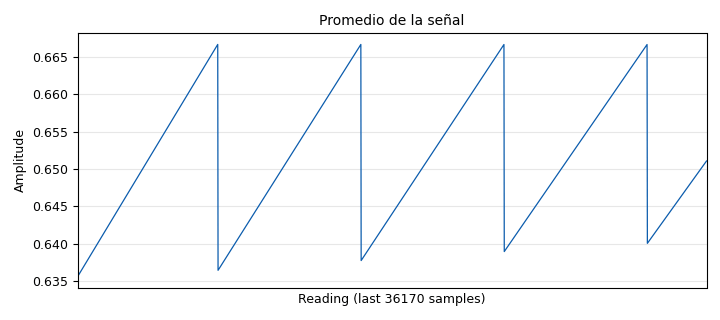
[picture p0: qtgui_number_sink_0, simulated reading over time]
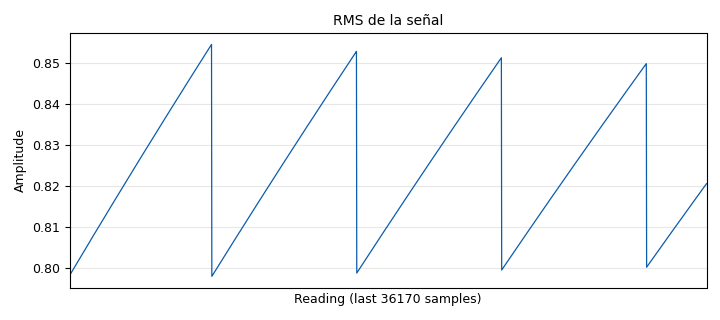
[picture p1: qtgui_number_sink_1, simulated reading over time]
options:
  parameters:
    author: CARLOS_CARREÑO_JUAN_PINTO
    generate_options: qt_gui
    id: Lab_Comu_II_Pro
    output_language: python
    title: Lab_Comu_II_Pro
  states: {}

blocks:
- name: samp_rate
  id: variable
  parameters:
    value: '32000'
  states: {}
- name: blocks_vector_source_x_0
  id: blocks_vector_source_x
  parameters:
    repeat: 'True'
    type: float
    vector: (1, 2, -1)
  states: {}
- name: epy_block_0
  id: epy_block
  parameters:
    _source_code: |-
      """
      Embedded Python Blocks:

      Each time this file is saved, GRC will instantiate the first class it finds
      to get ports and parameters of your block. The arguments to __init__  will
      be the parameters. All of them are required to have default values!
      """
      import numpy as np
      from gnuradio import gr

      class blk(gr.sync_block):
          def __init__( self ): # only default arguments here
              gr.sync_block.__init__(
              self ,
              name = 'Promedios_de_tiempos', # will show up in GRC
              in_sig =[ np.float32 ],
              out_sig =[ np.float32 ,np.float32 ,np.float32 ,np.float32 ,np.float32 ]
              )
              self.acum_anterior = 0
              self.Ntotales = 0
              self.acum_anterior1 = 0
              self.acum_anterior2 = 0

          def work(self , input_items , output_items ):
              x = input_items[0] # Senial de entrada .
              y0 = output_items[0] # Promedio de la senial
              y1 = output_items[1] # Media de la senial
              y2 = output_items[2] # RMS de la senial
              y3 = output_items[3] # Potencia promedio de la senial
              y4 = output_items[4] # Desviacion estandar de la senial

              # Calculo del promedio
              N = len(x)
              self.Ntotales = self.Ntotales + N
              acumulado = self.acum_anterior + np.cumsum(x)
              self.acum_anterior = acumulado[N -1]
              y0[:]= acumulado/self.Ntotales

              # Calculo de la media cuadratica
              x2=np.multiply(x,x)
              acumulado1 = self.acum_anterior1 + np.cumsum(x2)
              self.acum_anterior1 = acumulado[N -1]
              y1[:] = acumulado1/self.Ntotales

              # Calculo de la RMS
              y2[:] = np.sqrt(y1)

              # Calculo de la potencia promedio
              y3[:] = np.multiply(y2 ,y2)

              # Calculo de la desviacion estandar
              x3 = np.multiply(x-y0 ,x-y0)
              acumulado2 = self.acum_anterior2 + np.cumsum(x3)
              self.acum_anterior2 = acumulado2[N -1]
              y4[:] = np.sqrt( acumulado2/self.Ntotales )
              return len(x)
  states: {}
- name: qtgui_number_sink_0
  id: qtgui_number_sink
  parameters:
    graph_type: qtgui.NUM_GRAPH_HORIZ
    name: '"Promedio de la señal"'
    type: float
  states: {}
- name: qtgui_number_sink_1
  id: qtgui_number_sink
  parameters:
    graph_type: qtgui.NUM_GRAPH_HORIZ
    name: '"RMS de la señal"'
    type: float
  states: {}
- name: qtgui_number_sink_2
  id: qtgui_number_sink
  parameters:
    graph_type: qtgui.NUM_GRAPH_HORIZ
    max: '2'
    name: '"Desviacion estandar de la señal"'
    type: float
  states: {}
- name: qtgui_number_sink_3
  id: qtgui_number_sink
  parameters:
    graph_type: qtgui.NUM_GRAPH_HORIZ
    name: '"Potencia promedio de la señal"'
    type: float
  states: {}
- name: qtgui_number_sink_4
  id: qtgui_number_sink
  parameters:
    graph_type: qtgui.NUM_GRAPH_HORIZ
    name: '"Media de la señal"'
    type: float
  states: {}

connections:
- [blocks_vector_source_x_0, '0', epy_block_0, '0']
- [epy_block_0, '0', qtgui_number_sink_0, '0']
- [epy_block_0, '1', qtgui_number_sink_4, '0']
- [epy_block_0, '2', qtgui_number_sink_1, '0']
- [epy_block_0, '3', qtgui_number_sink_3, '0']
- [epy_block_0, '4', qtgui_number_sink_2, '0']

metadata:
  file_format: 1
  grc_version: 3.10.9.2
